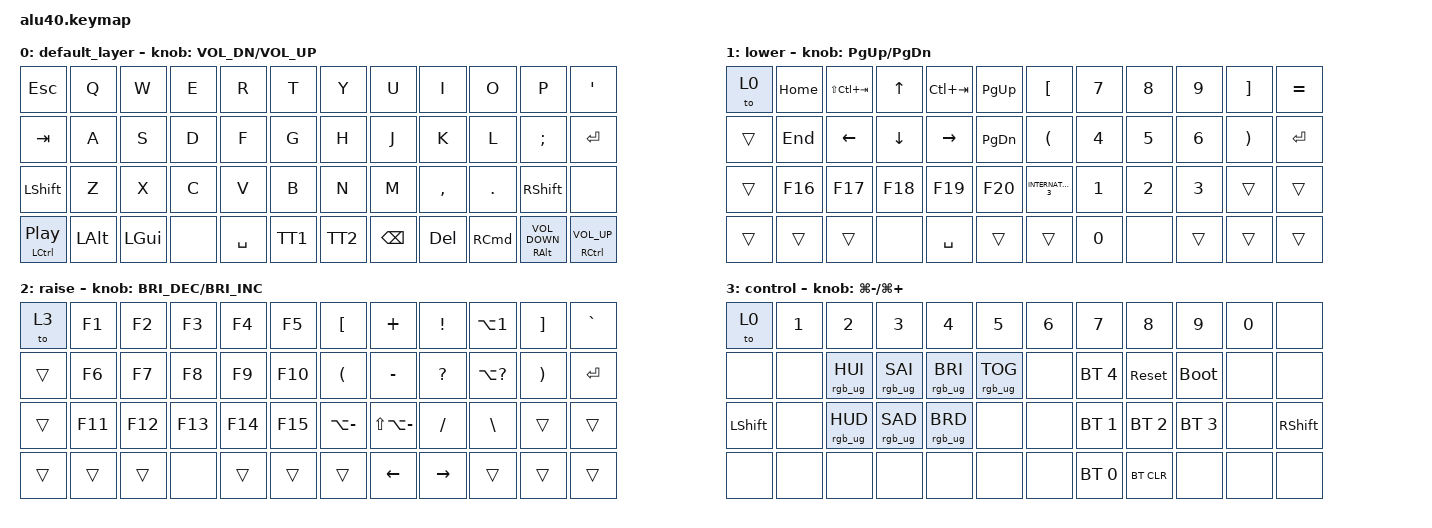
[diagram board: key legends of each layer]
/*
 * Copyright (c) 2022 The ZMK Contributors
 *
 * SPDX-License-Identifier: MIT
 */

#include <behaviors.dtsi>
#include <dt-bindings/zmk/bt.h>
#include <dt-bindings/zmk/keys.h>
#include <dt-bindings/zmk/rgb.h>

/ {
    behaviors {
        TT1: TT1 {
            compatible = "zmk,behavior-tap-dance";
            label = "TT1";
            #binding-cells = <0>;
            bindings = <&mo 1>, <&tog 1>;
        };

        TT2: TT2 {
            compatible = "zmk,behavior-tap-dance";
            label = "TT2";
            #binding-cells = <0>;
            bindings = <&mo 2>, <&tog 2>;
        };

        CLF11: CLF11 {
            compatible = "zmk,behavior-tap-dance";
            label = "CLF11";
            #binding-cells = <0>;
            bindings = <&kp F11>, <&kp CAPSLOCK>;

            tapping-term-ms = <500>;
        };
    };

    keymap {
        compatible = "zmk,keymap";

        default_layer {
            // -----------------------------------------------------------------------------------------
            // | ESC/~ |  Q   |  W   |  E   |  R   |  T   |   Y   |  U    |  I   |  O   |   P   | BSPC  |
            // | TAB   |  A   |  S   |  D   |  F   |  G   |   H   |  J    |  K   |  L   |   ;   |  '    |
            // | SHIFT |  Z   |  X   |  C   |  V   |  B   |   N   |  M    |  ,   |  .   |   /   |RET/SFT|
            // | PLAY  | LCTL | LALT | LGUI | LOWR |     SPACE    |  RAIS | LARW | UARW | DARW  |  RARW |

            bindings = <
&kp ESCAPE                     &kp Q         &kp W         &kp E  &kp R      &kp T  &kp Y  &kp U          &kp I       &kp O              &kp P                        &kp APOSTROPHE
&kp TAB                        &kp A         &kp S         &kp D  &kp F      &kp G  &kp H  &kp J          &kp K       &kp L              &kp SEMI                     &kp RETURN
&kp LEFT_SHIFT                 &kp Z         &kp X         &kp C  &kp V      &kp B  &kp N  &kp M          &kp COMMA   &kp DOT            &kp RIGHT_SHIFT              &none
&mt LEFT_CONTROL C_PLAY_PAUSE  &kp LEFT_ALT  &kp LEFT_GUI  &none  &kp SPACE  &TT1   &TT2   &kp BACKSPACE  &kp DELETE  &kp RIGHT_COMMAND  &mt RIGHT_ALT C_VOLUME_DOWN  &mt RIGHT_CONTROL C_VOLUME_UP
            >;

            sensor-bindings = <&inc_dec_kp C_VOL_DN C_VOL_UP>;
        };

        lower {
            bindings = <
&to 0   &kp HOME  &kp LS(LC(TAB))  &kp UP_ARROW    &kp LC(TAB)      &kp PAGE_UP    &kp LEFT_BRACKET      &kp N7  &kp N8  &kp N9  &kp RIGHT_BRACKET      &kp EQUAL
&trans  &kp END   &kp LEFT_ARROW   &kp DOWN_ARROW  &kp RIGHT_ARROW  &kp PAGE_DOWN  &kp LEFT_PARENTHESIS  &kp N4  &kp N5  &kp N6  &kp RIGHT_PARENTHESIS  &kp RETURN
&trans  &kp F16   &kp F17          &kp F18         &kp F19          &kp F20        &kp INTERNATIONAL_3   &kp N1  &kp N2  &kp N3  &trans                 &trans
&trans  &trans    &trans           &none           &kp SPACE        &trans         &trans                &kp N0  &none   &trans  &trans                 &trans
            >;

            sensor-bindings = <&inc_dec_kp PG_UP PG_DN>;
        };

        raise {
            bindings = <
&to 3   &kp F1   &kp F2   &kp F3   &kp F4   &kp F5   &kp LEFT_BRACKET      &kp PLUS           &kp EXCLAMATION  &kp LA(N1)        &kp RIGHT_BRACKET      &kp GRAVE
&trans  &kp F6   &kp F7   &kp F8   &kp F9   &kp F10  &kp LEFT_PARENTHESIS  &kp MINUS          &kp QUESTION     &kp LA(QUESTION)  &kp RIGHT_PARENTHESIS  &kp RETURN
&trans  &kp F11  &kp F12  &kp F13  &kp F14  &kp F15  &kp LA(MINUS)         &kp LS(LA(MINUS))  &kp SLASH        &kp BACKSLASH     &trans                 &trans
&trans  &trans   &trans   &none    &trans   &trans   &trans                &kp LEFT_ARROW     &kp RIGHT_ARROW  &trans            &trans                 &trans
            >;

            sensor-bindings = <&inc_dec_kp C_BRI_DEC C_BRI_INC>;
        };

        control {
            bindings = <
&to 0           &kp N1  &kp N2           &kp N3           &kp N4           &kp N5           &kp N6  &kp N7        &kp N8        &kp N9        &kp N0  &none
&none           &none   &rgb_ug RGB_HUI  &rgb_ug RGB_SAI  &rgb_ug RGB_BRI  &rgb_ug RGB_TOG  &none   &bt BT_SEL 4  &sys_reset    &bootloader   &none   &none
&kp LEFT_SHIFT  &none   &rgb_ug RGB_HUD  &rgb_ug RGB_SAD  &rgb_ug RGB_BRD  &none            &none   &bt BT_SEL 1  &bt BT_SEL 2  &bt BT_SEL 3  &none   &kp RIGHT_SHIFT
&none           &none   &none            &none            &none            &none            &none   &bt BT_SEL 0  &bt BT_CLR    &none         &none   &none
            >;

            sensor-bindings = <&inc_dec_kp LG(MINUS) LG(PLUS)>;
        };
    };
};
